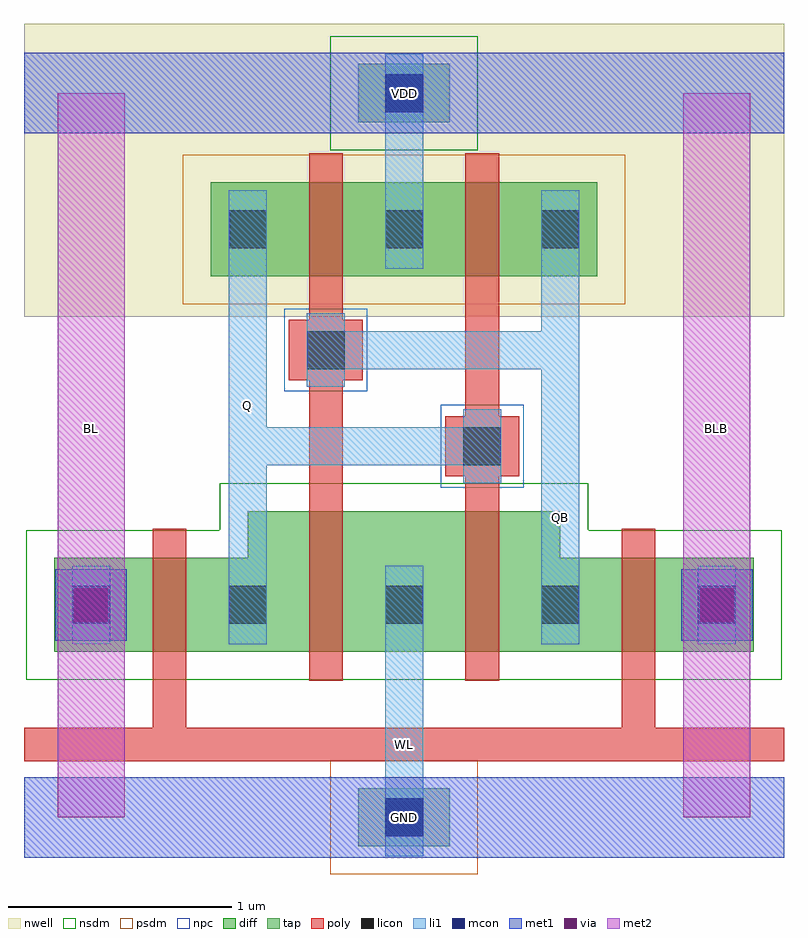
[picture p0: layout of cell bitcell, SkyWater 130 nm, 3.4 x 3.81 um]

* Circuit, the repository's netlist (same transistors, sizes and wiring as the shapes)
.subckt bitcell bl blb wl vdd vss
XXPU1 q qb vdd vdd sky130_fd_pr__pfet_01v8 L=0.15 W=0.42 nf=1 m=1
XXPD1 q qb vss vss sky130_fd_pr__nfet_01v8 L=0.15 W=0.63 nf=1 m=1
XXPU2 qb q vdd vdd sky130_fd_pr__pfet_01v8 L=0.15 W=0.42 nf=1 m=1
XXPD2 qb q vss vss sky130_fd_pr__nfet_01v8 L=0.15 W=0.63 nf=1 m=1
XXPG1 bl wl q vss sky130_fd_pr__nfet_01v8 L=0.15 W=0.42 nf=1 m=1
XXPG2 blb wl qb vss sky130_fd_pr__nfet_01v8 L=0.15 W=0.42 nf=1 m=1
.ends

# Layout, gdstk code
import gdstk
lib = gdstk.Library(unit=1e-6, precision=1e-09)
def R(c, l, rs):  # rectangles x0, y0, x1, y1
    for r in rs: c.add(gdstk.rectangle(r[:2], r[2:], *l))
def A(c, l, x, y, w, h, nx, ny, dx, dy):  # array of equal rectangles
    R(c, l, [(x+i*dx, y+j*dy, x+i*dx+w, y+j*dy+h) for i in range(nx) for j in range(ny)])
nwell = (64, 20)
diff = (65, 20)
tap = (65, 44)
poly = (66, 20)
licon = (66, 44)
li1 = (67, 20)
mcon = (67, 44)
met1 = (68, 20)
via = (68, 44)
met2 = (69, 20)
nsdm = (93, 44)
psdm = (94, 20)
npc = (95, 20)

bitcell = lib.new_cell('bitcell')
R(bitcell, nwell, [(-0.3,1.5,3.1,2.81)])
R(bitcell, diff, [(-0.165,0,2.965,0.42), (0.7,0.42,2.1,0.63), (0.535,1.68,2.265,2.1)])
R(bitcell, tap, [(1.195,-0.87,1.605,-0.61), (1.195,2.37,1.605,2.63)])
R(bitcell, poly, [(-0.3,-0.49,3.1,-0.34), (0.275,-0.34,0.425,0.55), (2.375,-0.34,2.525,0.55), (0.975,-0.13,1.125,1.215), (1.675,-0.13,1.825,0.785), (1.585,0.785,1.915,1.055), (1.675,1.055,1.825,2.23), (0.885,1.215,1.215,1.485), (0.975,1.485,1.125,2.23)])
A(bitcell, licon, -0.085, 0.125, 0.17, 0.17, 5, 1, 0.7, 0)
A(bitcell, licon, 0.615, 1.805, 0.17, 0.17, 3, 1, 0.7, 0)
R(bitcell, licon, [(1.315,-0.825,1.485,-0.655), (1.665,0.835,1.835,1.005), (0.965,1.265,1.135,1.435), (1.315,2.415,1.485,2.585)])
R(bitcell, li1, [(1.315,-0.915,1.485,0.385), (-0.085,0.035,0.085,0.385), (0.615,0.035,0.785,0.835), (2.015,0.035,2.185,1.265), (2.715,0.035,2.885,0.385), (1.665,0.755,1.835,0.835), (0.615,0.835,1.835,1.005), (0.615,1.005,0.785,2.065), (1.665,1.005,1.835,1.085), (0.965,1.185,1.135,1.265), (0.965,1.265,2.185,1.435), (0.965,1.435,1.135,1.515), (2.015,1.435,2.185,2.065), (1.315,1.715,1.485,2.675)])
R(bitcell, mcon, [(1.315,-0.825,1.485,-0.655), (-0.085,0.125,0.085,0.295), (2.715,0.125,2.885,0.295), (1.315,2.415,1.485,2.585)])
R(bitcell, met1, [(-0.3,-0.92,3.1,-0.56), (-0.16,0.05,0.16,0.37), (2.64,0.05,2.96,0.37), (-0.3,2.32,3.1,2.68)])
R(bitcell, via, [(-0.075,0.135,0.075,0.285), (2.725,0.135,2.875,0.285)])
R(bitcell, met2, [(-0.15,-0.74,0.15,2.5), (2.65,-0.74,2.95,2.5)])
R(bitcell, nsdm, [(-0.29,-0.125,3.09,0.545), (0.575,0.545,2.225,0.755), (1.07,2.245,1.73,2.755)])
R(bitcell, psdm, [(1.07,-0.995,1.73,-0.485), (0.41,1.555,2.39,2.225)])
R(bitcell, npc, [(1.565,0.735,1.935,1.105), (0.865,1.165,1.235,1.535)])
bitcell.add(gdstk.Label('BL', (0,1), layer=69, texttype=5))
bitcell.add(gdstk.Label('BLB', (2.8,1), layer=69, texttype=5))
bitcell.add(gdstk.Label('WL', (1.4,-0.415), layer=66, texttype=5))
bitcell.add(gdstk.Label('VDD', (1.4,2.5), layer=68, texttype=5))
bitcell.add(gdstk.Label('GND', (1.4,-0.74), layer=68, texttype=5))
bitcell.add(gdstk.Label('Q', (0.7,1.1), layer=67, texttype=5))
bitcell.add(gdstk.Label('QB', (2.1,0.6), layer=67, texttype=5))

lib.write_gds('bitcell.gds')
